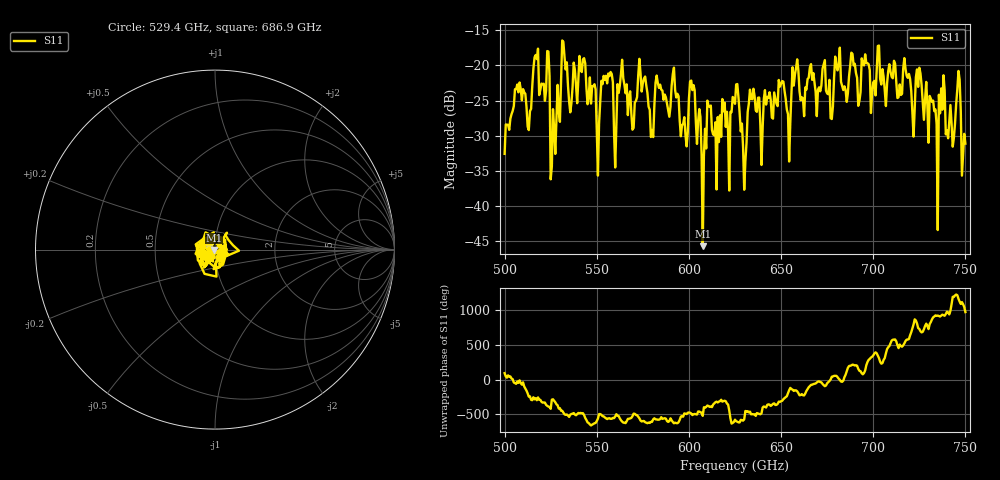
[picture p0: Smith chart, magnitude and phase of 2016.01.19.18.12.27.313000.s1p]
!Created with skrf (http://scikit-rf.org).
# GHz S RI R 50.0
!freq ReS11 ImS11
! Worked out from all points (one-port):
!   401 points, 500 GHz to 750 GHz, reference 50 ohm
!   lowest |S11| = -45.7 dB at 607.5 GHz (marker M1), VSWR 1.01, Z = 49.5 - j0.181 ohm
!   |S11| at or under -10 dB: start of sweep to end of sweep
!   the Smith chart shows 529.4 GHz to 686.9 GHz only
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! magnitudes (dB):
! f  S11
! 500 GHz  -32.6
! 506.9 GHz  -22.7
! 513.1 GHz  -29.2
! 516.9 GHz  -18.5
! 523.1 GHz  -18.0
! 526.2 GHz  -26.2
! 531.2 GHz  -16.4
! 542.5 GHz  -19.1
! 550.6 GHz  -35.7
! 557.5 GHz  -20.9
! 560.6 GHz  -28.7
! 562.5 GHz  -22.9
! 579.4 GHz  -30.2
! 593.8 GHz  -24.0
! 598.1 GHz  -29.9
! 601.9 GHz  -23.5
! 607.5 GHz  -45.7
! 611.2 GHz  -25.9
! 621.2 GHz  -29.4
! 625 GHz  -25.5
! 630 GHz  -37.7
! 634.4 GHz  -24.8
! 656.2 GHz  -20.3
! 687.5 GHz  -20.1
! 718.8 GHz  -21.8
! 733.8 GHz  -26.3
! 746.2 GHz  -20.8
! 750 GHz  -31.1
